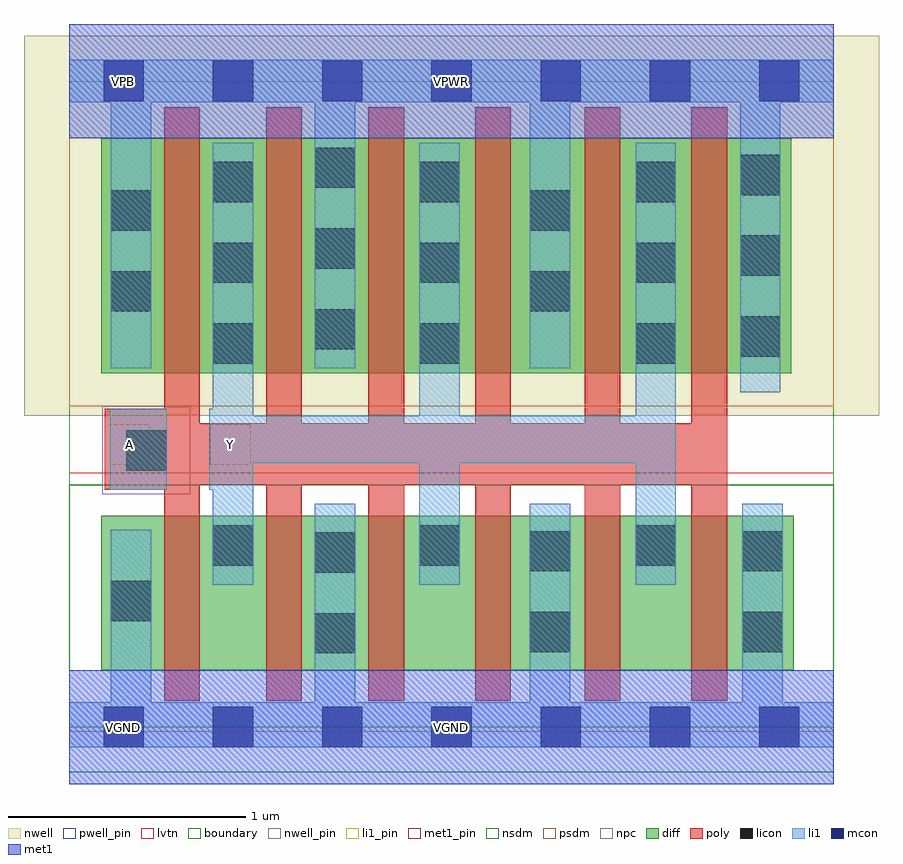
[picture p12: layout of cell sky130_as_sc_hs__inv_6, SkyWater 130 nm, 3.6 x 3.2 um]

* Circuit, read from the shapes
.subckt sky130_as_sc_hs__inv_6 A VGND VNB VPB VPWR Y
XM1 Y A VGND VNB sky130_fd_pr__nfet_01v8_lvt w=0.65 l=0.15 m=6
XM2 Y A VPWR VPB sky130_fd_pr__pfet_01v8 w=0.99 l=0.15 m=6
.ends

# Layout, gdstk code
import gdstk
lib = gdstk.Library(unit=1e-6, precision=1e-09)
def R(c, l, rs):  # rectangles x0, y0, x1, y1
    for r in rs: c.add(gdstk.rectangle(r[:2], r[2:], *l))
def A(c, l, x, y, w, h, nx, ny, dx, dy):  # array of equal rectangles
    R(c, l, [(x+i*dx, y+j*dy, x+i*dx+w, y+j*dy+h) for i in range(nx) for j in range(ny)])
nwell_pin = (64, 16)
nwell = (64, 20)
diff = (65, 20)
poly = (66, 20)
licon = (66, 44)
li1_pin = (67, 16)
li1 = (67, 20)
mcon = (67, 44)
met1_pin = (68, 16)
met1 = (68, 20)
nsdm = (93, 44)
psdm = (94, 20)
npc = (95, 20)
pwell_pin = (122, 16)
lvtn = (125, 44)
boundary = (235, 4)

sky130_as_sc_hs__inv_6 = lib.new_cell('sky130_as_sc_hs__inv_6')
R(sky130_as_sc_hs__inv_6, nwell_pin, [(0.145,2.635,0.315,2.805)])
R(sky130_as_sc_hs__inv_6, nwell, [(-0.19,1.31,3.41,2.91)])
R(sky130_as_sc_hs__inv_6, diff, [(0.135,0.24,3.05,0.89), (0.135,1.49,3.04,2.48)])
R(sky130_as_sc_hs__inv_6, poly, [(0.4,0.11,0.55,1), (0.83,0.11,0.98,1.02), (1.26,0.11,1.41,1.02), (1.71,0.11,1.86,1.02), (2.17,0.11,2.32,1.02), (2.62,0.11,2.77,1.02), (0.15,1,0.55,1.02), (0.15,1.02,2.77,1.28), (0.15,1.28,0.55,1.34), (0.83,1.28,0.98,2.61), (1.26,1.28,1.41,2.61), (1.71,1.28,1.86,2.61), (2.17,1.28,2.32,2.61), (2.62,1.28,2.77,2.61), (0.4,1.34,0.55,2.61)])
A(sky130_as_sc_hs__inv_6, licon, 0.605, 1.53, 0.17, 0.17, 1, 3, 0, 0.34)
A(sky130_as_sc_hs__inv_6, licon, 1.475, 1.53, 0.17, 0.17, 1, 3, 0, 0.34)
A(sky130_as_sc_hs__inv_6, licon, 2.385, 1.53, 0.17, 0.17, 1, 3, 0, 0.34)
A(sky130_as_sc_hs__inv_6, licon, 2.825, 1.56, 0.17, 0.17, 1, 3, 0, 0.34)
A(sky130_as_sc_hs__inv_6, licon, 1.035, 1.59, 0.17, 0.17, 1, 3, 0, 0.34)
R(sky130_as_sc_hs__inv_6, licon, [(1.035,0.31,1.205,0.48), (1.94,0.315,2.11,0.485), (2.835,0.315,3.005,0.485), (0.175,0.445,0.345,0.615), (1.035,0.65,1.205,0.82), (1.94,0.655,2.11,0.825), (2.835,0.655,3.005,0.825), (0.605,0.68,0.775,0.85), (1.475,0.68,1.645,0.85), (2.385,0.68,2.555,0.85), (0.24,1.08,0.41,1.25), (0.175,1.75,0.345,1.92), (1.94,1.75,2.11,1.92), (0.175,2.09,0.345,2.26), (1.94,2.09,2.11,2.26)])
R(sky130_as_sc_hs__inv_6, li1_pin, [(0.17,1.105,0.34,1.275), (0.595,1.105,0.765,1.275)])
R(sky130_as_sc_hs__inv_6, li1, [(0,-0.085,3.22,0.105), (0.175,0.105,0.345,0.83), (1.035,0.105,1.205,0.94), (1.94,0.105,2.11,0.94), (2.835,0.105,3.005,0.94), (0.605,0.6,0.775,1), (1.475,0.6,1.645,1.11), (2.385,0.6,2.555,1.11), (0.17,1,0.41,1.34), (0.59,1,0.775,1.11), (0.59,1.11,2.555,1.31), (0.59,1.31,0.775,1.34), (1.475,1.31,1.645,2.46), (2.385,1.31,2.555,2.46), (0.605,1.34,0.775,2.46), (2.825,1.41,2.995,2.63), (0.175,1.51,0.345,2.63), (1.035,1.51,1.205,2.63), (1.94,1.51,2.11,2.63), (0,2.63,3.22,2.81)])
A(sky130_as_sc_hs__inv_6, mcon, 0.145, -0.085, 0.17, 0.17, 7, 2, 0.46, 2.72)
R(sky130_as_sc_hs__inv_6, met1_pin, [(0,-0.24,3.22,0.24), (0.145,-0.085,0.315,0.085), (0,2.48,3.22,2.96), (0.145,2.635,0.315,2.805)])
R(sky130_as_sc_hs__inv_6, met1, [(0,-0.24,3.22,0.24), (0,2.48,3.22,2.96)])
R(sky130_as_sc_hs__inv_6, nsdm, [(0,-0.19,3.22,1.02)])
R(sky130_as_sc_hs__inv_6, psdm, [(0,1.35,3.22,2.91)])
R(sky130_as_sc_hs__inv_6, npc, [(0.14,0.98,0.51,1.35)])
R(sky130_as_sc_hs__inv_6, pwell_pin, [(0.145,-0.085,0.315,0.085)])
R(sky130_as_sc_hs__inv_6, lvtn, [(0,-0.02,3.22,1.07)])
R(sky130_as_sc_hs__inv_6, boundary, [(0,0,3.22,2.72)])
sky130_as_sc_hs__inv_6.add(gdstk.Label('VPB', (0.23,2.72), layer=64, texttype=5))
sky130_as_sc_hs__inv_6.add(gdstk.Label('VPB', (0.23,2.72), layer=64, texttype=5))
sky130_as_sc_hs__inv_6.add(gdstk.Label('VPWR', (0.23,2.72), layer=68, texttype=5))
sky130_as_sc_hs__inv_6.add(gdstk.Label('VPWR', (1.61,2.72), layer=68, texttype=5))
sky130_as_sc_hs__inv_6.add(gdstk.Label('VGND', (1.61,0), layer=68, texttype=5))
sky130_as_sc_hs__inv_6.add(gdstk.Label('VGND', (0.23,0), layer=68, texttype=5))
sky130_as_sc_hs__inv_6.add(gdstk.Label('VNB', (0.23,0), layer=64, texttype=59))
sky130_as_sc_hs__inv_6.add(gdstk.Label('VNB', (0.23,0), layer=64, texttype=59))
sky130_as_sc_hs__inv_6.add(gdstk.Label('Y', (0.68,1.19), layer=67, texttype=5))
sky130_as_sc_hs__inv_6.add(gdstk.Label('Y', (0.68,1.19), layer=67, texttype=5))
sky130_as_sc_hs__inv_6.add(gdstk.Label('A', (0.255,1.19), layer=67, texttype=5))
sky130_as_sc_hs__inv_6.add(gdstk.Label('A', (0.255,1.19), layer=67, texttype=5))

lib.write_gds('sky130_as_sc_hs__inv_6.gds')
